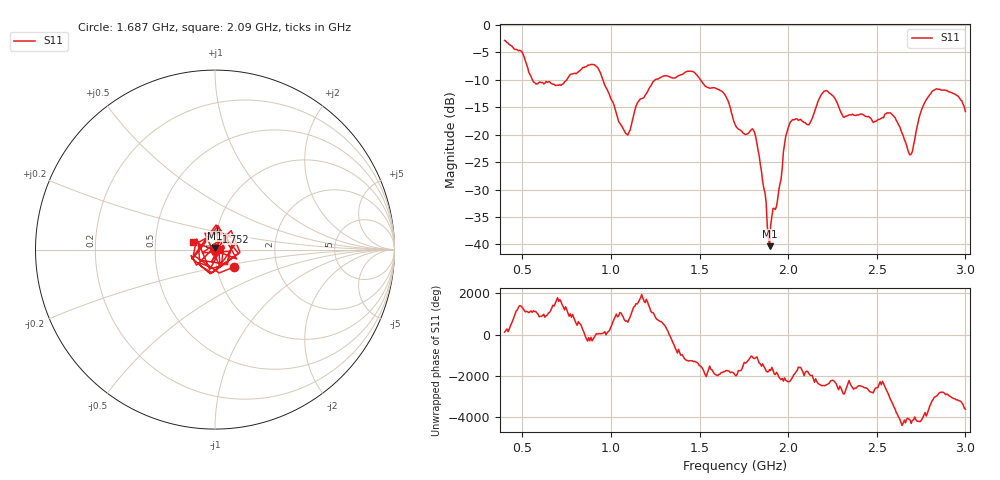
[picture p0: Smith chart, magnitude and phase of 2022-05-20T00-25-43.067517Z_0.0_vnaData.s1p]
!Created with skrf (http://scikit-rf.org).
# Hz S RI R 50.0
!freq ReS11 ImS11
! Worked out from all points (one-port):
!   401 points, 400 MHz to 3 GHz, reference 50 ohm
!   lowest |S11| = -40.3 dB at 1.895 GHz (marker M1), VSWR 1.02, Z = 49.8 + j0.945 ohm
!   |S11| at or under -10 dB: 556.8 MHz to 750.9 MHz (194.1 MHz wide, 29.7 % of centre); 953.6 MHz to 1.25 GHz (296.5 MHz wide, 26.9 % of centre); 1.505 GHz to end of sweep
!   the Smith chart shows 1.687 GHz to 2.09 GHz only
!   S11 on the Smith chart (normalised r, x): 1.687 GHz: 1.22, -0.24; 1.752 GHz: 1.00, +0.20; 2.09 GHz: 0.78, +0.07
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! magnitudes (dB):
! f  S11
! 400 MHz  -2.9
! 497.5 MHz  -4.9
! 569 MHz  -10.5
! 725 MHz  -10.8
! 913.5 MHz  -7.5
! 1.05 GHz  -17.9
! 1.095 GHz  -20.1
! 1.154 GHz  -14.0
! 1.245 GHz  -10.2
! 1.375 GHz  -9.4
! 1.622 GHz  -12.0
! 1.687 GHz  -16.8
! 1.7 GHz  -18.1
! 1.752 GHz  -19.9
! 1.817 GHz  -20.4
! 1.895 GHz  -40.3
! 1.947 GHz  -30.1
! 1.986 GHz  -20.4
! 2.025 GHz  -17.3
! 2.09 GHz  -17.8
! 2.213 GHz  -12.0
! 2.35 GHz  -16.4
! 2.578 GHz  -16.1
! 2.675 GHz  -22.8
! 2.695 GHz  -23.5
! 2.753 GHz  -15.4
! 2.825 GHz  -11.9
! 3 GHz  -15.8
